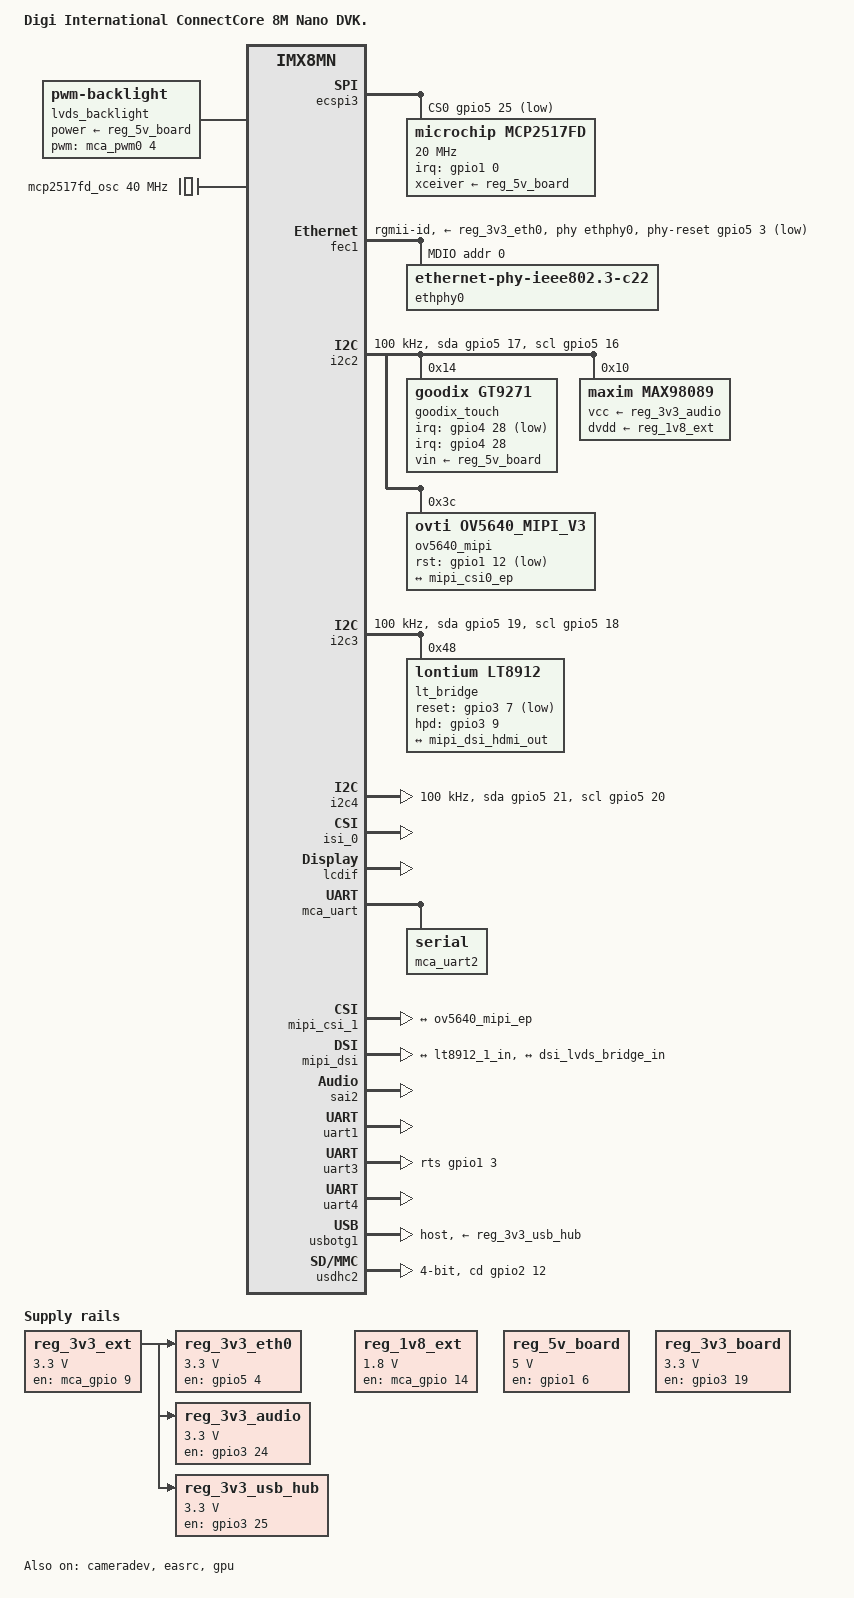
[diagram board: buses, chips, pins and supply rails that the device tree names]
/*
 * Copyright 2019, Digi International Inc.
 *
 * Permission to use, copy, modify, and/or distribute this software for any
 * purpose with or without fee is hereby granted, provided that the above
 * copyright notice and this permission notice appear in all copies.
 * THE SOFTWARE IS PROVIDED "AS IS" AND THE AUTHOR DISCLAIMS ALL WARRANTIES
 * WITH REGARD TO THIS SOFTWARE INCLUDING ALL IMPLIED WARRANTIES OF
 * MERCHANTABILITY AND FITNESS. IN NO EVENT SHALL THE AUTHOR BE LIABLE FOR
 * ANY SPECIAL, DIRECT, INDIRECT, OR CONSEQUENTIAL DAMAGES OR ANY DAMAGES
 * WHATSOEVER RESULTING FROM LOSS OF USE, DATA OR PROFITS, WHETHER IN AN
 * ACTION OF CONTRACT, NEGLIGENCE OR OTHER TORTIOUS ACTION, ARISING OUT OF
 * OR IN CONNECTION WITH THE USE OR PERFORMANCE OF THIS SOFTWARE.
 */

/dts-v1/;

/* i.MX8MN CPU */
#include "../freescale/imx8mn.dtsi"
/* Digi ConnectCore 8M Nano (WiFi/bluetooth variant) */
#include "ccimx8mn-wb.dtsi"

/ {
	model = "Digi International ConnectCore 8M Nano DVK.";
	compatible = "digi,ccimx8mn-dvk", "digi,ccimx8mn", "digi,ccimx8m", "fsl,imx8mn";
	digi,machine,name = "ccimx8mn-dvk";

	chosen {
		bootargs = "console=ttymxc0,115200 earlycon=ec_imx6q,0x30860000,115200";
		stdout-path = &uart1;
	};

	lvds_backlight: lvds_backlight {
		compatible = "pwm-backlight";
		pwms = <&mca_pwm0 4 100000 0>;

		brightness-levels = < 0  1  2  3  4  5  6  7  8  9
				     10 11 12 13 14 15 16 17 18 19
				     20 21 22 23 24 25 26 27 28 29
				     30 31 32 33 34 35 36 37 38 39
				     40 41 42 43 44 45 46 47 48 49
				     50 51 52 53 54 55 56 57 58 59
				     60 61 62 63 64 65 66 67 68 69
				     70 71 72 73 74 75 76 77 78 79
				     80 81 82 83 84 85 86 87 88 89
				     90 91 92 93 94 95 96 97 98 99
				    100>;
		default-brightness-level = <80>;
		power-supply = <&reg_5v_board>;
		status = "okay";
	};

	/* fixed crystal dedicated to mcp2517fd */
	mcp2517fd_osc: mcp2517fd_osc {
		compatible = "fixed-clock";
		#clock-cells = <0>;
		clock-frequency = <40000000>;
	};

	regulators {
		compatible = "simple-bus";
		#address-cells = <1>;
		#size-cells = <0>;

		reg_3v3_ext: regulator@1 {
			compatible = "regulator-fixed";
			reg = <1>;
			regulator-name = "3v3_ext";
			regulator-min-microvolt = <3300000>;
			regulator-max-microvolt = <3300000>;
			gpio = <&mca_gpio 9 GPIO_ACTIVE_HIGH>;
			enable-active-high;
			regulator-always-on;
			regulator-boot-on;
		};

		reg_1v8_ext: regulator@2 {
			compatible = "regulator-fixed";
			reg = <2>;
			regulator-name = "1v8_ext";
			regulator-min-microvolt = <1800000>;
			regulator-max-microvolt = <1800000>;
			gpio = <&mca_gpio 14 GPIO_ACTIVE_HIGH>;
			enable-active-high;
			regulator-always-on;
			regulator-boot-on;
		};

		reg_3v3_eth0: regulator@3 {
			compatible = "regulator-fixed";
			reg = <3>;
			pinctrl-names = "default";
			pinctrl-0 = <&pinctrl_reg_3v3_eth0>;
			regulator-name = "3v3_eth0";
			regulator-min-microvolt = <3300000>;
			regulator-max-microvolt = <3300000>;
			gpio = <&gpio5 4 GPIO_ACTIVE_HIGH>;
			enable-active-high;
			startup-delay-us = <10000>;
			vin-supply = <&reg_3v3_ext>;
		};

		reg_5v_board: regulator@4 {
			compatible = "regulator-fixed";
			reg = <4>;
			pinctrl-names = "default";
			pinctrl-0 = <&pinctrl_reg_5v_board>;
			regulator-name = "5v_board";
			regulator-min-microvolt = <5000000>;
			regulator-max-microvolt = <5000000>;
			gpio = <&gpio1 6 GPIO_ACTIVE_HIGH>;
			enable-active-high;
		};

		reg_3v3_audio: regulator@5 {
			compatible = "regulator-fixed";
			reg = <5>;
			pinctrl-names = "default";
			pinctrl-0 = <&pinctrl_reg_3v3_aud>;
			regulator-name = "3v3_audio";
			regulator-min-microvolt = <3300000>;
			regulator-max-microvolt = <3300000>;
			gpio = <&gpio3 24 GPIO_ACTIVE_HIGH>;
			enable-active-high;
			startup-delay-us = <1000>;
			vin-supply = <&reg_3v3_ext>;
		};

		reg_3v3_usb_hub: regulator@6 {
			compatible = "regulator-fixed";
			reg = <6>;
			pinctrl-names = "default";
			pinctrl-0 = <&pinctrl_reg_3v3_usb_hub>;
			regulator-name = "3v3_usb_hub";
			regulator-min-microvolt = <3300000>;
			regulator-max-microvolt = <3300000>;
			gpio = <&gpio3 25 GPIO_ACTIVE_HIGH>;
			enable-active-high;
			vin-supply = <&reg_3v3_ext>;
		};

		reg_3v3_board: regulator@7 {
			compatible = "regulator-fixed";
			reg = <7>;
			pinctrl-names = "default";
			pinctrl-0 = <&pinctrl_reg_3v3_board>;
			regulator-name = "3v3_board";
			regulator-min-microvolt = <3300000>;
			regulator-max-microvolt = <3300000>;
			gpio = <&gpio3 19 GPIO_ACTIVE_HIGH>;
			enable-active-high;
			regulator-always-on;
		};
	};

	sound_max98089: sound-max98089 {
		compatible = "fsl,imx-audio-max98088";
		model = "imx-max98088";
		cpu-dai = <&sai2>;
		audio-codec = <&max98089>;
		asrc-controller = <&easrc>;
		audio-routing =
			"Headphone Jack", "HPL",
			"Headphone Jack", "HPR",
			"Ext Spk", "SPKL",
			"Ext Spk", "SPKR",
			"LineOut", "RECL",
			"LineOut", "RECR",
			"Mic1", "MIC1",
			"Mic2", "MIC2",
			"LineInA", "INA1",
			"LineInA", "INA2",
			"LineInB", "INB1",
			"LineInB", "INB2";
		status = "okay";
	};
};

&cameradev {
	status = "okay";
};

&clk {
	assigned-clocks = <&clk IMX8MN_AUDIO_PLL1>, <&clk IMX8MN_AUDIO_PLL2>;
	assigned-clock-rates = <393216000>, <361267200>;
};

&easrc {
	fsl,asrc-rate  = <48000>;
	status = "okay";
};

&ecspi3 {
	#address-cells = <1>;
	#size-cells = <0>;
	fsl,spi-num-chipselects = <1>;
	pinctrl-names = "default";
	pinctrl-0 = <&pinctrl_ecspi3 &pinctrl_ecspi3_cs>;
	cs-gpios = <&gpio5 25 GPIO_ACTIVE_LOW>;
	status = "okay";

	mcp2517fd: mcp2517fd@0 {
		reg = <0>;
		compatible = "microchip,mcp2517fd";
		pinctrl-names = "default";
		pinctrl-0 = <&pinctrl_mcp2517fd>;
		spi-max-frequency = <20000000>;
		interrupt-parent = <&gpio1>;
		interrupts = <0 IRQ_TYPE_LEVEL_LOW>;
		clocks = <&mcp2517fd_osc>;
		xceiver-supply = <&reg_5v_board>;
	};
};

&fec1 {
	pinctrl-names = "default";
	pinctrl-0 = <&pinctrl_fec1_gpio>,
		    <&pinctrl_fec1>;
	phy-mode = "rgmii-id";
	phy-handle = <&ethphy0>;
	digi,mdio-lt-supply = <&reg_1v8_ext>;
	phy-supply = <&reg_3v3_eth0>;
	phy-reset-gpios = <&gpio5 3 GPIO_ACTIVE_LOW>;
	phy-reset-duration = <1>;
	digi,phy-reset-in-suspend;
	fsl,magic-packet;
	status = "okay";

	mdio {
		#address-cells = <1>;
		#size-cells = <0>;

		ethphy0: ethernet-phy@0 {
			compatible = "ethernet-phy-ieee802.3-c22";
			reg = <0>;
			at803x,eee-disabled;
			at803x,vddio-1p8v;
		};
	};
};

&gpu {
	status = "okay";
};

/*
 * I2C2 connected to Audio codec.
 * Also available on:
 * - LVDS connector
 * - PCIe connector
 * - MIPI Camera connector
 * - Expansion connector
 */
&i2c2 {
	#address-cells = <1>;
	#size-cells = <0>;
	clock-frequency = <100000>;
	pinctrl-names = "default", "gpio";
	pinctrl-0 = <&pinctrl_i2c2>;
	pinctrl-1 = <&pinctrl_i2c2_gpio>;
	scl-gpios = <&gpio5 16 GPIO_ACTIVE_HIGH>;
	sda-gpios = <&gpio5 17 GPIO_ACTIVE_HIGH>;
	status = "okay";

	/*
	 * The max98089 sound codec uses the same I2C address than the fusion touch
	 * controller, so when enabling this node, you need to also disable the
	 * max98089 node.
	 */
	fusion_touch: fusion@10 {
		compatible = "touchrev,fusion-touch";
		reg = <0x10>;
		pinctrl-names = "default";
		pinctrl-0 = <&pinctrl_touch>;
		/* LVDS interrupt */
		interrupt-parent = <&gpio4>;
		interrupts = <28 IRQ_TYPE_EDGE_FALLING>;
		status = "disabled";
	};

	goodix_touch: gt9271@14 {
		compatible = "goodix,gt9271";
		reg = <0x14>;
		pinctrl-names = "default";
		pinctrl-0 = <&pinctrl_touch>;
		/* LVDS interrupt */
		interrupt-parent = <&gpio4>;
		interrupts = <28 IRQ_TYPE_EDGE_FALLING>;
		irq-gpios = <&gpio4 28 GPIO_ACTIVE_LOW>;
		reload-fw-on-resume;
		skip-firmware-request;
		vin-supply = <&reg_5v_board>;
	};

	max98089: codec@10 {
		compatible = "maxim,max98089";
		reg = <0x10>;
		clocks = <&clk IMX8MN_CLK_SAI2_ROOT>;
		clock-names = "mclk";
		vcc-supply = <&reg_3v3_audio>;
		dvdd-supply = <&reg_1v8_ext>;
	};

	/* MIPI-CSI camera */
	ov5640_mipi: ov5640_mipi@3c {
		compatible = "ovti,ov5640_mipi_v3";
		reg = <0x3c>;
		pinctrl-names = "default";
		pinctrl-0 = <&pinctrl_mipi>;
		clocks = <&clk IMX8MN_CLK_CLKO1>;
		clock-names = "csi_mclk";
		assigned-clocks = <&clk IMX8MN_CLK_CLKO1>;
		assigned-clock-parents = <&clk IMX8MN_CLK_24M>;
		assigned-clock-rates = <24000000>;
		csi_id = <0>;
		rst-gpios = <&gpio1 12 GPIO_ACTIVE_LOW>;
		mclk = <24000000>;
		mclk_source = <0>;
		mipi_csi;

		port {
			ov5640_mipi_ep: endpoint {
				remote-endpoint = <&mipi_csi0_ep>;
			};
		};
	};
};

/*
 * I2C3 connected to LT8912 MIPI-to-HDMI bridge and SN65DSI83 MIPI-to-LVDS bridge.
 * Also available on the HDMI connector.
 */
&i2c3 {
	clock-frequency = <100000>;
	pinctrl-names = "default", "gpio";
	pinctrl-0 = <&pinctrl_i2c3>;
	pinctrl-1 = <&pinctrl_i2c3_gpio>;
	scl-gpios = <&gpio5 18 GPIO_ACTIVE_HIGH>;
	sda-gpios = <&gpio5 19 GPIO_ACTIVE_HIGH>;
	status = "okay";

	dsi_lvds_bridge: sn65dsi84@2c {
		compatible = "ti,sn65dsi83";
		reg = <0x2c>;
		ti,dsi-lanes = <4>;
		ti,lvds-format = <1>;
		ti,lvds-bpp = <24>;
		ti,width-mm = <217>;
		ti,height-mm = <136>;
		enable-gpios = <&gpio3 0 GPIO_ACTIVE_HIGH>;
		interrupt-parent = <&gpio3>;
		interrupts = <6 IRQ_TYPE_LEVEL_HIGH>;
		pinctrl-names = "default";
		pinctrl-0 = <&pinctrl_lvds>;
		status = "disabled";

		display-timings {
			native-mode = <&lvds0_g101evn010>;

			/* AUO G101EVN01.0 */
			lvds0_g101evn010: timing@0 {
				clock-frequency = <69000000>;
				hactive = <1280>;
				vactive = <800>;
				hfront-porch = <120>;
				hback-porch = <1>;
				hsync-len = <8>;
				vback-porch = <10>;
				vfront-porch = <1>;
				vsync-len = <6>;
				hsync-active = <1>;
				vsync-active = <1>;
				de-active = <1>;
				pixelclk-active = <0>;
			};

			/* Fusion 10" F10A-0102 */
			lvds0_hsd101pfw2: timing@1 {
				clock-frequency = <69000000>;
				hactive = <1024>;
				vactive = <600>;
				hfront-porch = <120>;
				hback-porch = <1>;
				hsync-len = <8>;
				vback-porch = <10>;
				vfront-porch = <1>;
				vsync-len = <6>;
				hsync-active = <1>;
				vsync-active = <1>;
				de-active = <1>;
				pixelclk-active = <0>;
			};
		};

		port {
			dsi_lvds_bridge_in: endpoint {
				remote-endpoint = <&mipi_dsi_lvds_out>;
			};
		};
	};

	lt_bridge: lt8912@48 {
		compatible = "lontium,lt8912";
		reg = <0x48>;
		pinctrl-names = "default";
		pinctrl-0 = <&pinctrl_lt8912>;
		reset-gpios = <&gpio3 7 GPIO_ACTIVE_LOW>;
		hpd-gpios = <&gpio3 9 GPIO_ACTIVE_HIGH>;
		digi,dsi-lanes = <4>;
		status = "okay";

		port {
			lt8912_1_in: endpoint {
				/* add lanes */
				remote-endpoint = <&mipi_dsi_hdmi_out>;
			};
		};
	};
};

/* Expansion I2C port bus */
&i2c4 {
	clock-frequency = <100000>;
	pinctrl-names = "default", "gpio";
	pinctrl-0 = <&pinctrl_i2c4>;
	pinctrl-1 = <&pinctrl_i2c4_gpio>;
	scl-gpios = <&gpio5 20 GPIO_ACTIVE_HIGH>;
	sda-gpios = <&gpio5 21 GPIO_ACTIVE_HIGH>;
	status = "okay";
};

&isi_0 {
	status = "okay";
};

&lcdif {
	status = "okay";
};

/*
 * Uncomment to enable MCA ADC channels on the XBee Cellular socket:
 *  - MCA_IO1 (channel 1) at XBEE1_UART_TX
 *  - MCA_IO2 (channel 2) at XBEE1_UART_RX
 *  - MCA_IO3 (channel 3) at XBEE1_UART_CTS
 *  - MCA_IO4 (channel 4) at XBEE1_UART_RTS
 *
 * These pins are used also by mca_uart2 below.
 * mca_uart2 must be disabled to be able to use these pins as ADCs.
 *
 * Edit adc-ch-list to include the ADC channels that you want to enable.
 */
// &mca_adc {
//	digi,adc-ch-list = <1 2 3 4>;
//	digi,adc-vref = <3000000>;
// };

/*
 * Uncomment to Enable Tamper detection. There are 2 digital (0 and 1) and 2
 * analog (2 and 3) tamper interfaces.
 */
//&mca_tamper {
//	digi,tamper-if-list = <0 1 2 3>;
//};

&mca_uart {
	status = "okay";

	/* Uncomment to enable MCA UART0. Assign the IO pins (see bindings) */
//	mca_uart0: serial@0x900 {
//		iopins-names = "rx", "tx";
//		iopins = <9 10>;
//	};

	/* Uncomment to enable MCA UART1. Assign the IO pins (see bindings) */
//	mca_uart1: serial@0x920 {
//		iopins-names = "rx", "tx";
//		iopins = <11 16>;
//	};

	/* UART connected to XBee Cellular socket */
	mca_uart2: serial@0x940 {
		iopins-names = "rx", "tx", "cts", "rts";
		iopins = <2 1 3 4>;
	};
};
&mipi_csi_1 {
	#address-cells = <1>;
	#size-cells = <0>;
	status = "okay";

	/* Camera 0  MIPI CSI-2 (CSIS0) */
	port@0 {
		reg = <0>;
		mipi_csi0_ep: endpoint {
			remote-endpoint = <&ov5640_mipi_ep>;
			data-lanes = <2>;
			csis-hs-settle = <13>;
			csis-clk-settle = <2>;
			csis-wclk;
		};
	};
};

&mipi_dsi {
	status = "okay";

	port@1 {
		mipi_dsi_hdmi_out: endpoint {
			remote-endpoint = <&lt8912_1_in>;
			attach-bridge;
		};
	};

	port@2 {
		mipi_dsi_lvds_out: endpoint {
			remote-endpoint = <&dsi_lvds_bridge_in>;
			attach-bridge;
		};
	};
};

&sai2 {
	pinctrl-names = "default", "sleep";
	pinctrl-0 = <&pinctrl_sai2>;
	pinctrl-1 = <&pinctrl_sai2_sleep>;
	assigned-clocks = <&clk IMX8MN_CLK_SAI2>;
	assigned-clock-parents = <&clk IMX8MN_AUDIO_PLL1_OUT>;
	assigned-clock-rates = <12288000>;
	status = "okay";
};

/* Console */
&uart1 {
	pinctrl-names = "default", "sleep";
	pinctrl-0 = <&pinctrl_uart1>;
	pinctrl-1 = <&pinctrl_uart1_sleep>;
	status = "okay";
};

/* Expansion port/RS485 UART */
&uart3 {
	pinctrl-names = "default";
	assigned-clocks = <&clk IMX8MN_CLK_UART3>;
	assigned-clock-parents = <&clk IMX8MN_SYS_PLL1_80M>;

	/* RS-485 mode (comment these lines to use this UART in RS232 mode) */
	pinctrl-0 = <&pinctrl_uart3_rs485>;
	linux,rs485-enabled-at-boot-time;
	rs485-rts-active-high;
	rts-gpios = <&gpio1 3 GPIO_ACTIVE_HIGH>;
	/* Disable DMA on this port when using rs485 */
	/delete-property/dmas;
	/delete-property/dma-names;

	/* RS-232 mode (uncomment these lines to use this UART in RS232 mode) */
	//pinctrl-0 = <&pinctrl_uart3>;
	//fsl,uart-has-rtscts;

	status = "okay";
};

/* XBee 2 UART shared with the Cortex M7 */
&uart4 {
	pinctrl-names = "default";
	pinctrl-0 = <&pinctrl_uart4>, <&pinctrl_xbee2_gpios>;
	assigned-clocks = <&clk IMX8MN_CLK_UART4>;
	assigned-clock-parents = <&clk IMX8MN_SYS_PLL1_80M>;
	fsl,uart-has-rtscts;
	status = "okay";
};

/* USB_OTG1 connected to usb hub */
&usbotg1 {
	pinctrl-names = "default";
	pinctrl-0 = <&pinctrl_usbotg1>;

	vbus-supply = <&reg_3v3_usb_hub>;
	fsl,reset-gpio = <&gpio5 10 GPIO_ACTIVE_LOW>;
	dr_mode = "host";
	disable-over-current;
	status = "okay";
};

/* Micro SD card */
&usdhc2 {
	pinctrl-names = "default", "state_100mhz", "state_200mhz";
	pinctrl-0 = <&pinctrl_usdhc2>, <&pinctrl_usdhc2_gpio>;
	pinctrl-1 = <&pinctrl_usdhc2_100mhz>, <&pinctrl_usdhc2_gpio>;
	pinctrl-2 = <&pinctrl_usdhc2_200mhz>, <&pinctrl_usdhc2_gpio>;
	bus-width = <4>;
	no-1-8-v;
	cd-gpios = <&gpio2 12 GPIO_ACTIVE_HIGH>;
	/* Assert GPIO5_IO1 low for 3V3 (default) or high for 1.8V */
	pinctrl-assert-gpios = <&gpio5 1 GPIO_ACTIVE_LOW>;
	status = "okay";
};

&A53_0 {
	arm-supply = <&buck2_reg>;
};

/* IOMUX */
&iomuxc {
	pinctrl-names = "default";
	pinctrl-0 = <&pinctrl_hog>;

	pinctrl_hog: hoggrp {
		fsl,pins = <
			/* GPIO1_IO10 on expansion connector */
			MX8MN_IOMUXC_GPIO1_IO10_GPIO1_IO10	0x16
			/* GPIO1_IO11 on expansion connector */
			MX8MN_IOMUXC_GPIO1_IO11_GPIO1_IO11	0x16
			/* GPIO1_IO13 on expansion connector */
			MX8MN_IOMUXC_GPIO1_IO13_GPIO1_IO13	0x16
			/* GPIO1_IO14 on expansion connector */
			MX8MN_IOMUXC_GPIO1_IO14_GPIO1_IO14	0x16
			/* GPIO1_IO15 on expansion connector */
			MX8MN_IOMUXC_GPIO1_IO15_GPIO1_IO15	0x16
			/* User LED 3 */
			MX8MN_IOMUXC_SD2_RESET_B_GPIO2_IO19	0x16
			/* User button 2 */
			MX8MN_IOMUXC_SD2_WP_GPIO2_IO20	0x16
			/*
			 * Expansion I2C port IRQ.
			 * Remove if you plan on using this line for a device
			 * connected to the expansion I2C port.
			 */
			MX8MN_IOMUXC_UART3_TXD_GPIO5_IO27	0x16
			/*
			 * Expansion I2C port GPIO.
			 * Remove if you plan on using this line for a device
			 * connected to the expansion I2C port.
			 */
			MX8MN_IOMUXC_UART3_RXD_GPIO5_IO26	0x16
		>;
	};

	pinctrl_ecspi3: ecspi3grp {
		fsl,pins = <
			MX8MN_IOMUXC_UART1_RXD_ECSPI3_SCLK		0x82
			MX8MN_IOMUXC_UART1_TXD_ECSPI3_MOSI		0x82
			MX8MN_IOMUXC_UART2_RXD_ECSPI3_MISO		0x82
		>;
	};

	pinctrl_ecspi3_cs: ecspi3cs {
		fsl,pins = <
			MX8MN_IOMUXC_UART2_TXD_GPIO5_IO25		0x40000
		>;
	};

	pinctrl_fec1_gpio: fec1gpiogrp {
		fsl,pins = <
			/* PHY reset */
			MX8MN_IOMUXC_SPDIF_TX_GPIO5_IO3		0x19
			/* PHY interrupt */
			MX8MN_IOMUXC_SAI3_MCLK_GPIO5_IO2	0x19
		>;
	};

	pinctrl_fec1: fec1grp {
		fsl,pins = <
			MX8MN_IOMUXC_ENET_MDC_ENET1_MDC		0x3
			MX8MN_IOMUXC_ENET_MDIO_ENET1_MDIO	0x3
			MX8MN_IOMUXC_ENET_TD3_ENET1_RGMII_TD3	0x1f
			MX8MN_IOMUXC_ENET_TD2_ENET1_RGMII_TD2	0x1f
			MX8MN_IOMUXC_ENET_TD1_ENET1_RGMII_TD1	0x1f
			MX8MN_IOMUXC_ENET_TD0_ENET1_RGMII_TD0	0x1f
			MX8MN_IOMUXC_ENET_RD3_ENET1_RGMII_RD3	0x91
			MX8MN_IOMUXC_ENET_RD2_ENET1_RGMII_RD2	0x91
			MX8MN_IOMUXC_ENET_RD1_ENET1_RGMII_RD1	0x91
			MX8MN_IOMUXC_ENET_RD0_ENET1_RGMII_RD0	0x91
			MX8MN_IOMUXC_ENET_TXC_ENET1_RGMII_TXC	0x1f
			MX8MN_IOMUXC_ENET_RXC_ENET1_RGMII_RXC	0x91
			MX8MN_IOMUXC_ENET_RX_CTL_ENET1_RGMII_RX_CTL	0x91
			MX8MN_IOMUXC_ENET_TX_CTL_ENET1_RGMII_TX_CTL	0x1f
		>;
	};

	pinctrl_i2c2: i2c2grp {
		fsl,pins = <
			MX8MN_IOMUXC_I2C2_SCL_I2C2_SCL			0x400001c3
			MX8MN_IOMUXC_I2C2_SDA_I2C2_SDA			0x400001c3
		>;
	};

	pinctrl_i2c2_gpio: i2c2grp-gpio {
		fsl,pins = <
			MX8MN_IOMUXC_I2C2_SCL_GPIO5_IO16		0x1c3
			MX8MN_IOMUXC_I2C2_SDA_GPIO5_IO17		0x1c3
		>;
	};

	pinctrl_i2c3: i2c3grp {
		fsl,pins = <
			MX8MN_IOMUXC_I2C3_SCL_I2C3_SCL			0x400001c3
			MX8MN_IOMUXC_I2C3_SDA_I2C3_SDA			0x400001c3
		>;
	};

	pinctrl_i2c3_gpio: i2c3grp-gpio {
		fsl,pins = <
			MX8MN_IOMUXC_I2C3_SCL_GPIO5_IO18		0x1c3
			MX8MN_IOMUXC_I2C3_SDA_GPIO5_IO19		0x1c3
		>;
	};

	pinctrl_i2c4: i2c4grp {
		fsl,pins = <
			MX8MN_IOMUXC_I2C4_SCL_I2C4_SCL			0x400001c3
			MX8MN_IOMUXC_I2C4_SDA_I2C4_SDA			0x400001c3
		>;
	};

	pinctrl_i2c4_gpio: i2c4grp-gpio {
		fsl,pins = <
			MX8MN_IOMUXC_I2C4_SCL_GPIO5_IO20		0x1c3
			MX8MN_IOMUXC_I2C4_SDA_GPIO5_IO21		0x1c3
		>;
	};

	pinctrl_lt8912: lt8912grp {
		fsl,pins = <
			/* Reset */
			MX8MN_IOMUXC_NAND_DATA01_GPIO3_IO7	0x19
			/* Interrupt */
			MX8MN_IOMUXC_NAND_DATA03_GPIO3_IO9	0x19
		>;
	};

	pinctrl_lvds: lvdsgrp {
		fsl,pins = <
			/* SN65DSI83 enable */
			MX8MN_IOMUXC_NAND_ALE_GPIO3_IO0		0x19
			/* SN65DSI83 interrupt */
			MX8MN_IOMUXC_NAND_DATA00_GPIO3_IO6	0x19
		>;
	};

	pinctrl_mcp2517fd: mcp2517fdgrp {
		fsl,pins = <
			MX8MN_IOMUXC_GPIO1_IO00_GPIO1_IO0 0x19
		>;
	};

	pinctrl_mipi: mipi {
		fsl,pins = <
			/* MIPI_CSI_RESET_N */
			MX8MN_IOMUXC_GPIO1_IO12_GPIO1_IO12 0x19
		>;
	};

	/* Ethernet PHYs regulator */
	pinctrl_reg_3v3_eth0: pinctrl_reg_3v3_eth0grp {
		fsl,pins = <
			/* PHY power */
			MX8MN_IOMUXC_SPDIF_RX_GPIO5_IO4		0x41
		>;
	};

	pinctrl_reg_5v_board: reg_5v_board_grp {
		fsl,pins = <
			/* 5V regulator power enable */
			MX8MN_IOMUXC_GPIO1_IO06_GPIO1_IO6		0x41
		>;
	};

	pinctrl_reg_3v3_aud: reg_3v3_aud_grp {
		fsl,pins = <
			/* Audio power enable */
			MX8MN_IOMUXC_SAI5_RXD3_GPIO3_IO24		0x41
		>;
	};

	pinctrl_reg_3v3_usb_hub: reg_3v3_usb_hub_grp {
		fsl,pins = <
			/* GPIO3_25 USB hub power enable */
			MX8MN_IOMUXC_SAI5_MCLK_GPIO3_IO25		0x41
		>;
	};

	pinctrl_reg_3v3_board: reg_3v3_board_grp {
		fsl,pins = <
			/* GPIO3_19 board regulator enable */
			MX8MN_IOMUXC_SAI5_RXFS_GPIO3_IO19		0x41
		>;
	};

	pinctrl_sai2: sai2grp {
		fsl,pins = <
			MX8MN_IOMUXC_SAI2_RXD0_SAI2_RX_DATA0	0xd6
			MX8MN_IOMUXC_SAI2_TXD0_SAI2_TX_DATA0	0xd6
			MX8MN_IOMUXC_SAI2_TXFS_SAI2_TX_SYNC		0xd6
			MX8MN_IOMUXC_SAI2_TXC_SAI2_TX_BCLK		0xd6
			MX8MN_IOMUXC_SAI2_MCLK_SAI2_MCLK		0xd6
		>;
	};

	pinctrl_sai2_sleep: sai2sleepgrp {
		fsl,pins = <
			MX8MN_IOMUXC_SAI2_RXD0_GPIO4_IO23		0x100
			MX8MN_IOMUXC_SAI2_TXD0_GPIO4_IO26		0x100
			MX8MN_IOMUXC_SAI2_TXFS_GPIO4_IO24		0x100
			MX8MN_IOMUXC_SAI2_TXC_GPIO4_IO25		0x100
			MX8MN_IOMUXC_SAI2_MCLK_GPIO4_IO27		0x100
		>;
	};

	pinctrl_touch: touchgrp {
		fsl,pins = <
			/* LVDS touch interrupt */
			MX8MN_IOMUXC_SAI3_RXFS_GPIO4_IO28	0x19
		>;
	};

	pinctrl_uart1: uart1grp {
		fsl,pins = <
			MX8MN_IOMUXC_SAI2_RXC_UART1_DCE_RX	0x140
			MX8MN_IOMUXC_SAI2_RXFS_UART1_DCE_TX	0x140
		>;
	};

	pinctrl_uart1_sleep: uart1sleepgrp {
		fsl,pins = <
			MX8MN_IOMUXC_SAI2_RXC_GPIO4_IO22	0x100
			MX8MN_IOMUXC_SAI2_RXFS_GPIO4_IO21	0x100
		>;
	};

	pinctrl_uart3: uart3grp {
		fsl,pins = <
			MX8MN_IOMUXC_ECSPI1_SCLK_UART3_DCE_RX		0x140
			MX8MN_IOMUXC_ECSPI1_MOSI_UART3_DCE_TX		0x140
			MX8MN_IOMUXC_ECSPI1_SS0_UART3_DCE_RTS_B		0x140
			MX8MN_IOMUXC_ECSPI1_MISO_UART3_DCE_CTS_B	0x140
			/*
			 * Configure RS485 RE#/DE line as pull-up to disable
			 * RS485 transceiver.
			 */
			MX8MN_IOMUXC_GPIO1_IO03_GPIO1_IO3		0x140
		>;
	};

	pinctrl_uart3_rs485: uart3_rs485grp {
		fsl,pins = <
			MX8MN_IOMUXC_ECSPI1_SCLK_UART3_DCE_RX		0x140
			MX8MN_IOMUXC_ECSPI1_MOSI_UART3_DCE_TX		0x140
			/* RS485 RE#/DE line */
			MX8MN_IOMUXC_GPIO1_IO03_GPIO1_IO3		0x16
		>;
	};

	pinctrl_uart4: uart4grp {
		fsl,pins = <
			MX8MN_IOMUXC_UART4_RXD_UART4_DCE_RX		0x140
			MX8MN_IOMUXC_UART4_TXD_UART4_DCE_TX		0x140
			MX8MN_IOMUXC_ECSPI2_SS0_UART4_DCE_RTS_B		0x140
			MX8MN_IOMUXC_ECSPI2_MISO_UART4_DCE_CTS_B	0x140
		>;
	};

	pinctrl_usbotg1: usbotg1grp {
		fsl,pins = <
			/* USB hub reset */
			MX8MN_IOMUXC_ECSPI2_SCLK_GPIO5_IO10		0x16
		>;
	};

	pinctrl_usdhc2_gpio: usdhc2gpiogrp {
		fsl,pins = <
			/* Card detect */
			MX8MN_IOMUXC_SD2_CD_B_GPIO2_IO12	0x1c4
			/* MUX_VSELECT */
			MX8MN_IOMUXC_SAI3_TXD_GPIO5_IO1		0x84
		>;
	};

	pinctrl_usdhc2: usdhc2grp {
		fsl,pins = <
			MX8MN_IOMUXC_SD2_CLK_USDHC2_CLK		0x190
			MX8MN_IOMUXC_SD2_CMD_USDHC2_CMD		0x1d0
			MX8MN_IOMUXC_SD2_DATA0_USDHC2_DATA0	0x1d0
			MX8MN_IOMUXC_SD2_DATA1_USDHC2_DATA1	0x1d0
			MX8MN_IOMUXC_SD2_DATA2_USDHC2_DATA2	0x1d0
			MX8MN_IOMUXC_SD2_DATA3_USDHC2_DATA3	0x1d0
		>;
	};

	pinctrl_usdhc2_100mhz: usdhc2grp100mhz {
		fsl,pins = <
			MX8MN_IOMUXC_SD2_CLK_USDHC2_CLK		0x194
			MX8MN_IOMUXC_SD2_CMD_USDHC2_CMD		0x1d4
			MX8MN_IOMUXC_SD2_DATA0_USDHC2_DATA0	0x1d4
			MX8MN_IOMUXC_SD2_DATA1_USDHC2_DATA1	0x1d4
			MX8MN_IOMUXC_SD2_DATA2_USDHC2_DATA2	0x1d4
			MX8MN_IOMUXC_SD2_DATA3_USDHC2_DATA3	0x1d4
		>;
	};

	pinctrl_usdhc2_200mhz: usdhc2grp200mhz {
		fsl,pins = <
			MX8MN_IOMUXC_SD2_CLK_USDHC2_CLK		0x196
			MX8MN_IOMUXC_SD2_CMD_USDHC2_CMD		0x1d6
			MX8MN_IOMUXC_SD2_DATA0_USDHC2_DATA0	0x1d6
			MX8MN_IOMUXC_SD2_DATA1_USDHC2_DATA1	0x1d6
			MX8MN_IOMUXC_SD2_DATA2_USDHC2_DATA2	0x1d6
			MX8MN_IOMUXC_SD2_DATA3_USDHC2_DATA3	0x1d6
		>;
	};

	pinctrl_xbee2_gpios: xbee2grp {
		fsl,pins = <
			/* XBEE_RESET_N */
			MX8MN_IOMUXC_GPIO1_IO08_GPIO1_IO8	0x16
			/* XBEE_ON/SLEEP_N */
			MX8MN_IOMUXC_GPIO1_IO09_GPIO1_IO9	0x16
			/* XBEE_SLEEP_RQ */
			MX8MN_IOMUXC_GPIO1_IO07_GPIO1_IO7	0x16
		>;
	};
};
